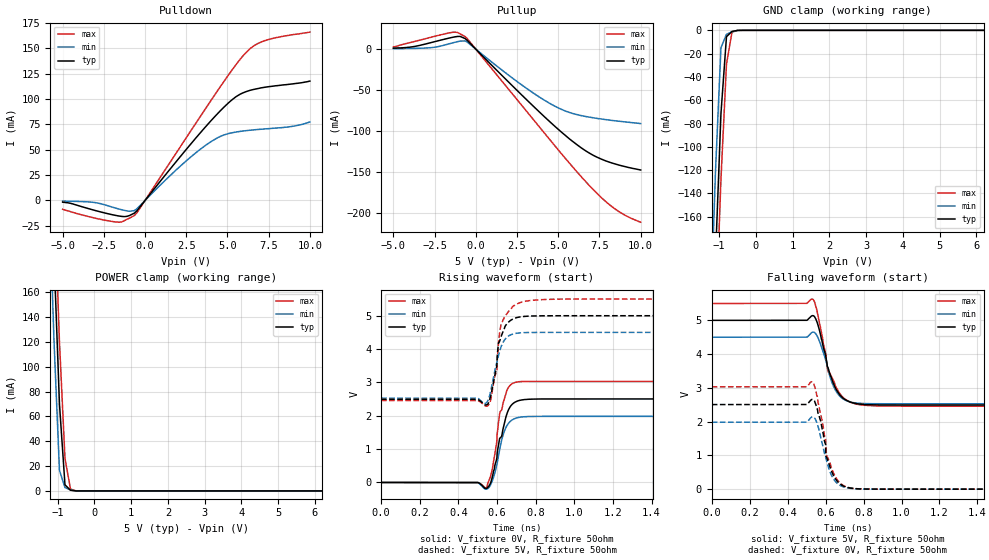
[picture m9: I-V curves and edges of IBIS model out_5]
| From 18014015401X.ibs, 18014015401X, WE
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[Model]   out_5
Model_type   3-state
Polarity   Non-Inverting
Vmeas = 2.5
Vref = 0
Cref = 15pF
Rref = 50
|   typ   min   max
|   (nom PVT)   (fast PVT)   (slow PVT)
C_comp   9.635e-13   9.413e-13   9.787e-13
| Where nom  PVT is Nominal Process, 5V, 27C
|   Fast PVT is Strong Process,  5.5V, -55C
|   Slow PVT is Weak Process,   4.5V, 150C
[Voltage Range]   5   4.5   5.5
|Ambient Temperature   25   125   -55
|Junction Temperature
[Temperature Range]   27   150   -55
[Pullup Reference]   5   4.5   5.5
[Pulldown Reference]   0   0   0
[Power Clamp Reference]   5   4.5   5.5
[GND Clamp Reference]   0   0   0
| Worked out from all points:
|   slope of the pulldown table from 0 to 0.75 V, typ, clamps not added: 48.7 ohm
|   slope of the pullup table from 0 to 0.75 V, typ, clamps not added: 49.1 ohm
|   GND clamp passes 1 mA (typ) near -0.65 V on its own axis
|   POWER clamp passes 1 mA (typ) near -0.67 V on its own axis
|   falling waveform, V_fixture 5V, R_fixture 50ohm: 20-80 % time 76.3ps typ, 68.1ps min, 82.9ps max; typ from 5 V to 2.49 V
|   rising waveform, V_fixture 0V, R_fixture 50ohm: 20-80 % time 59.7ps typ, 47.4ps min, 52.4ps max; typ from 0 V to 2.5 V
|   rising waveform, V_fixture 5V, R_fixture 50ohm: 20-80 % time 47.9ps typ, 49.6ps min, 47.9ps max; typ from 2.49 V to 5 V
|   falling waveform, V_fixture 0V, R_fixture 50ohm: 20-80 % time 59.4ps typ, 59.8ps min, 66.7ps max; typ from 2.5 V to 0 V
[Pulldown]
-5V       -1.7mA     -690uA     -8.7mA
-3.05V    -9.79mA    -2.07mA    -17.39mA
-1.7V     -15.02mA   -7.92mA    -21.34mA
-1.1V     -15.69mA   -10.31mA   -18.59mA
-650mV    -12.51mA   -10.04mA   -14.87mA
1.9V      38.5mA     30.27mA    47.03mA
3.7V      73.15mA    54.64mA    91.31mA
5.2V      98.2mA     66.46mA    126.9mA
6.1V      107.1mA    68.76mA    145.4mA
6.55V     109.3mA    69.5mA     151.9mA
7.3V      111.7mA    70.56mA    157.8mA
10V       117.7mA    77.4mA     166mA
[GND Clamp]
-5V       -4.169A    -4.163A    -4.167A
-1.25V    -336.8mA   -262.6mA   -394.7mA
-1.1V     -196.8mA   -121.8mA   -256.3mA
-950mV    -71.39mA   -14.92mA   -127.8mA
-800mV    -5.474mA   -3.481mA   -29.01mA
-650mV    -955.9uA   -1.22mA    -1.58mA
-500mV    -84.51uA   -60.77uA   -88.68uA
-350mV    -1.198uA   -253.1nA   -2.2uA
10V       0A         0A         0A
[Pullup]
-5V       1.2mA      600uA      2.7mA
-3.8V     3mA        900uA      8.91mA
-2.6V     8.56mA     2.05mA     15.09mA
-1.4V     14.44mA    7.65mA     20.53mA
-950mV    15.51mA    9.785mA    18.57mA
-650mV    12.87mA    10.01mA    15.28mA
2.95V     -59.03mA   -45.96mA   -72.45mA
5.05V     -98.53mA   -72.01mA   -123.9mA
6.7V      -124.3mA   -82.19mA   -162.1mA
7.9V      -136.3mA   -85.89mA   -186mA
8.95V     -142.6mA   -88.42mA   -201.1mA
10V       -147.2mA   -90.7mA    -210.8mA
[POWER Clamp]
-5V       4.002A     3.964A     4.027A
-1.25V    325.9mA    256.2mA    377.5mA
-1.1V     191.2mA    122mA      243.9mA
-950mV    69.9mA     16.56mA    120mA
-800mV    4.914mA    2.69mA     26.26mA
-650mV    534.8uA    756.9uA    1.48mA
-500mV    21.06uA    14.62uA    50.5uA
-350mV    181.3nA    13.55nA    936.9nA
10V       0A         0A         0A
[Ramp]
R_load = 50
|   typ   min   max
dV/dt_r   1.503/0.4442e-10   1.19/0.474e-10   1.819/0.4393e-10
dV/dt_f   1.505/0.6174e-10   1.183/0.681e-10   1.824/0.5862e-10
[Falling Waveform]
V_fixture = 5V
V_fixture_min = 4.5V
V_fixture_max = 5.5V
R_fixture = 50ohm
C_fixture = 0F
0s        5V         4.5V       5.5V
500.5ps   5.001V     4.5V       5.501V
533ps     5.14V      4.652V     5.622V
561.2ps   4.835V     4.467V     5.105V
600ps     3.984V     3.836V     4.026V
613.7ps   3.577V     3.523V     3.47V
637.5ps   3.181V     3.098V     3.26V
664.9ps   2.868V     2.817V     2.914V
755.7ps   2.54V      2.555V     2.528V
2ns       2.492V     2.528V     2.459V
[Rising Waveform]
V_fixture = 0V
V_fixture_min = 0V
V_fixture_max = 0V
R_fixture = 50ohm
C_fixture = 0F
0s        4.121nV    22.65nV    6.12nV
500ps     4.121nV    22.65nV    6.12nV
543.8ps   -180.9mV   -200.9mV   -167.5mV
576.7ps   190.2mV    61.78mV    428.2mV
598.3ps   702.4mV    501mV      1.182V
614ps     1.324V     988.3mV    2.067V
624.1ps   1.385V     1.264V     2.175V
646.9ps   1.977V     1.655V     2.666V
698.1ps   2.423V     1.929V     3.007V
2ns       2.505V     1.983V     3.031V
[Rising Waveform]
V_fixture = 5V
V_fixture_min = 4.5V
V_fixture_max = 5.5V
R_fixture = 50ohm
C_fixture = 0F
0s        2.492V     2.528V     2.459V
552ps     2.349V     2.444V     2.299V
565.7ps   2.554V     2.688V     2.437V
600ps     3.561V     3.621V     3.382V
601.6ps   3.836V     3.658V     3.668V
608.2ps   4.189V     3.816V     4.219V
622.1ps   4.381V     4.083V     4.776V
657.9ps   4.8V       4.385V     5.116V
733.6ps   4.976V     4.492V     5.418V
2ns       5V         4.5V       5.5V
[Falling Waveform]
V_fixture = 0V
V_fixture_min = 0V
V_fixture_max = 0V
R_fixture = 50ohm
C_fixture = 0F
0s        2.505V     1.983V     3.031V
530.2ps   2.66V      2.144V     3.177V
555.7ps   2.379V     1.941V     2.75V
582.9ps   1.759V     1.316V     1.999V
599.8ps   1.326V     951.4mV    1.478V
601.9ps   963mV      909mV      1.157V
606.4ps   930.4mV    811.4mV    970.6mV
649.7ps   324.8mV    238.3mV    386.1mV
715.9ps   49.41mV    36.2mV     55.9mV
2ns       -167.7nV   -165.8nV   -309.7nV
